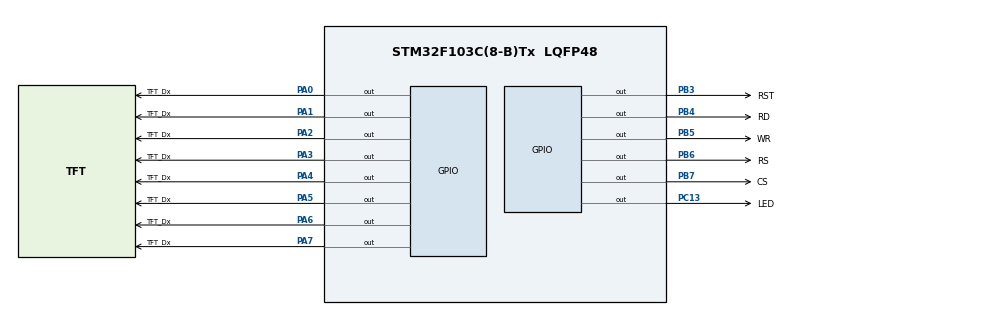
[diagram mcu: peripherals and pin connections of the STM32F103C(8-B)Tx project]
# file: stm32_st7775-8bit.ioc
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Mcu.Family=STM32F1
RCC.PLLSourceVirtual=RCC_PLLSOURCE_HSE
PD1-OSC_OUT.Mode=HSE-External-Oscillator
PC13-TAMPER-RTC.Signal=GPIO_Output
PA6.GPIO_Label=TFT_Dx
PB6.GPIO_Label=RS
PD0-OSC_IN.Signal=RCC_OSC_IN
RCC.APB1CLKDivider=RCC_HCLK_DIV2
RCC.SYSCLKSource=RCC_SYSCLKSOURCE_PLLCLK
ProjectManager.StackSize=0x400
PA0-WKUP.GPIO_Label=TFT_Dx
PA0-WKUP.Signal=GPIO_Output
PD1-OSC_OUT.Signal=RCC_OSC_OUT
RCC.ADCPresc=RCC_ADCPCLK2_DIV6
PA13.Signal=SYS_JTMS-SWDIO
ProjectManager.TargetToolchain=Makefile
RCC.HCLKFreq_Value=72000000
RCC.APB2TimFreq_Value=72000000
PB6.Signal=GPIO_Output
RCC.USBFreq_Value=72000000
PA1.Signal=GPIO_Output
RCC.AHBFreq_Value=72000000
PD0-OSC_IN.Mode=HSE-External-Oscillator
PA5.Signal=GPIO_Output
board=stm32_st7775-8bit
PC13-TAMPER-RTC.GPIO_Label=LED
RCC.PLLMUL=RCC_PLL_MUL9
RCC.APB2Freq_Value=72000000
PB4.GPIO_Label=RD
PA14.Mode=Serial_Wire
PA1.GPIO_Label=TFT_Dx
PB7.Signal=GPIO_Output
PA13.Mode=Serial_Wire
Mcu.Name=STM32F103C(8-B)Tx
PA2.Signal=GPIO_Output
PB7.GPIO_Label=CS
PB3.Signal=GPIO_Output
PA4.Signal=GPIO_Output
RCC.SYSCLKFreq_VALUE=72000000
Mcu.Package=LQFP48
PB5.Signal=GPIO_Output
PA6.Signal=GPIO_Output
PA7.GPIO_Label=TFT_Dx
PA5.GPIO_Label=TFT_Dx
PA2.GPIO_Label=TFT_Dx
PA14.Signal=SYS_JTCK-SWCLK
ProjectManager.HeapSize=0x200
NVIC.PriorityGroup=NVIC_PRIORITYGROUP_4
PB5.GPIO_Label=WR
RCC.APB1TimFreq_Value=72000000
RCC.APB1Freq_Value=36000000
PA4.GPIO_Label=TFT_Dx
PB4.Signal=GPIO_Output
PA3.GPIO_Label=TFT_Dx
PA3.Signal=GPIO_Output
PA7.Signal=GPIO_Output
PB3.GPIO_Label=RST

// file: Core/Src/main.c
/* USER CODE BEGIN Header */
/**
  ******************************************************************************
  * @file           : main.c
  * @brief          : Main program body
  ******************************************************************************
  * @attention
  *
  * <h2><center>&copy; Copyright (c) 2021 STMicroelectronics.
  * All rights reserved.</center></h2>
  *
  * This software component is licensed by ST under BSD 3-Clause license,
  * the "License"; You may not use this file except in compliance with the
  * License. You may obtain a copy of the License at:
  *                        opensource.org/licenses/BSD-3-Clause
  *
  ******************************************************************************
  */
/* USER CODE END Header */
#include "main.h"
#include "gpio.h"

/* USER CODE BEGIN Includes */
#include "st7775.h"

/* USER CODE END Includes */

/* USER CODE BEGIN PD */
#define delay_ms(ms) LL_mDelay(ms)
extern uint16_t BACK_COLOR,POINT_COLOR;
/* USER CODE END PD */

/* USER CODE BEGIN PV */
/* Private variables ---------------------------------------------------------*/

/* USER CODE END PV */

void SystemClock_Config(void);
/* USER CODE BEGIN PFP */
/* Private function prototypes -----------------------------------------------*/

/* USER CODE END PFP */

int main(void)
{

  /* MCU Configuration--------------------------------------------------------*/

  /* Reset of all peripherals, Initializes the Flash interface and the Systick. */

  LL_APB2_GRP1_EnableClock(LL_APB2_GRP1_PERIPH_AFIO);
  LL_APB1_GRP1_EnableClock(LL_APB1_GRP1_PERIPH_PWR);

  NVIC_SetPriorityGrouping(NVIC_PRIORITYGROUP_4);

  /* System interrupt init*/

  /** NOJTAG: JTAG-DP Disabled and SW-DP Enabled
  */
  LL_GPIO_AF_Remap_SWJ_NOJTAG();

  /* Configure the system clock */
  SystemClock_Config();

  /* Initialize all configured peripherals */
  MX_GPIO_Init();
  /* USER CODE BEGIN 2 */
  InitDisplay();

  DrawArea(0,0, 220,176, COLOR_BLACK); // ClearDisplay();
  /* USER CODE END 2 */

  /* Infinite loop */
  /* USER CODE BEGIN WHILE */

  while (1)
  {
    DrawArea(0,0, 50,50, COLOR_CYAN);
    DrawHLine(10, 20, 50, COLOR_RED);
    fillCircle(130,35, 30, COLOR_YELLOW);
    fillCircle(160,75, 30, COLOR_BLUE);
    fillCircle(180,105, 10, COLOR_PINK);
    DrawShape8x8(100,50, 9, 5, 1, 0, 0);

    for(uint8_t i = 0;i<255;i++)
    {
      ScrollLeft();
      delay_ms(10);
    }

    for(uint8_t i = 0;i<255;i++)
    {
      ScrollRight();
      delay_ms(10);
    }

    DrawArea(0,0, 220,176, COLOR_DARKGREY); // ClearDisplay();
    DrawArea(0,0, 220,176, COLOR_DARKGREY);
    DrawArea(55,55, 40,40, COLOR_WHITE);
    DrawArea(100,100, 30,30, COLOR_ORANGE);
    DrawArea(135,135, 20,20, COLOR_GREENYELLOW);

    for(uint8_t i = 0;i<255;i++)
    {
      ScrollLeft();
      delay_ms(10);
    }

    for(uint8_t i = 0;i<255;i++)
    {
      ScrollRight();
      delay_ms(10);
    }

    DrawArea(0,0, 220,176, COLOR_BLACK); // ClearDisplay();
    BACK_COLOR=COLOR_BLACK;
    POINT_COLOR=COLOR_BLUE;
    tft_putchar26x48(10,10,'A',TFT_STRING_MODE_BACKGROUND);
    POINT_COLOR=COLOR_YELLOW;
    tft_putchar26x48(60,10,'B',TFT_STRING_MODE_BACKGROUND);
    POINT_COLOR=COLOR_CYAN;
    tft_puts26x48(60,10,(int8_t*)"str1",TFT_STRING_MODE_NO_BACKGROUND);
    POINT_COLOR=COLOR_GREENYELLOW;
    tft_puts14x24(110,10,(int8_t*)"str2",TFT_STRING_MODE_NO_BACKGROUND);
    POINT_COLOR=COLOR_ORANGE;
    tft_puts18x32(140,10,(int8_t*)"string3",TFT_STRING_MODE_NO_BACKGROUND);

    for(uint8_t i = 0;i<255;i++)
    {
      ScrollLeft();
      delay_ms(10);
    }

    for(uint8_t i = 0;i<255;i++)
    {
      ScrollRight();
      delay_ms(10);
    }

    DrawArea(0,0, 220,176, COLOR_BLACK); // ClearDisplay();
    /* USER CODE END WHILE */

  }
}

void SystemClock_Config(void)
{
  LL_FLASH_SetLatency(LL_FLASH_LATENCY_2);
  while(LL_FLASH_GetLatency()!= LL_FLASH_LATENCY_2)
  {
  }
  LL_RCC_HSE_Enable();

   /* Wait till HSE is ready */
  while(LL_RCC_HSE_IsReady() != 1)
  {

  }
  LL_RCC_PLL_ConfigDomain_SYS(LL_RCC_PLLSOURCE_HSE_DIV_1, LL_RCC_PLL_MUL_9);
  LL_RCC_PLL_Enable();

   /* Wait till PLL is ready */
  while(LL_RCC_PLL_IsReady() != 1)
  {

  }
  LL_RCC_SetAHBPrescaler(LL_RCC_SYSCLK_DIV_1);
  LL_RCC_SetAPB1Prescaler(LL_RCC_APB1_DIV_2);
  LL_RCC_SetAPB2Prescaler(LL_RCC_APB2_DIV_1);
  LL_RCC_SetSysClkSource(LL_RCC_SYS_CLKSOURCE_PLL);

   /* Wait till System clock is ready */
  while(LL_RCC_GetSysClkSource() != LL_RCC_SYS_CLKSOURCE_STATUS_PLL)
  {

  }
  LL_Init1msTick(72000000);
  LL_SetSystemCoreClock(72000000);
}

void Error_Handler(void)
{
  while(1)
  {
  }
}

/************************ (C) COPYRIGHT STMicroelectronics *****END OF FILE****/
